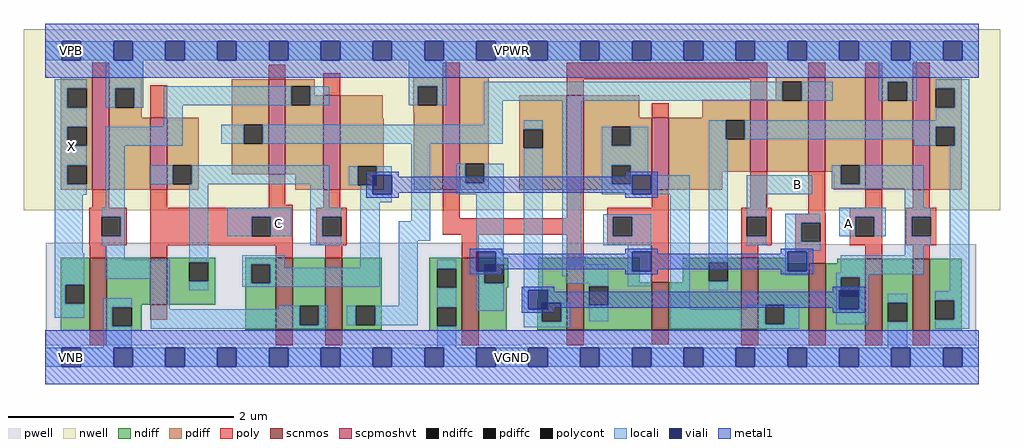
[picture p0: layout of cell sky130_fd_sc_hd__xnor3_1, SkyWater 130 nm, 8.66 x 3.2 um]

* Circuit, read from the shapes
.subckt sky130_fd_sc_hd__xnor3_1 A B C VGND VNB VPB VPWR X
XM1 VGND n1 X VNB sky130_fd_pr__nfet_01v8 w=0.65 l=0.15
XM2 n2 C VGND VNB sky130_fd_pr__nfet_01v8 w=0.42 l=0.15
XM3 n1 C n3 VNB sky130_fd_pr__nfet_01v8 w=0.64 l=0.15
XM4 n4 n2 n1 VNB sky130_fd_pr__nfet_01v8 w=0.64 l=0.15
XM5 n5 B VGND VNB sky130_fd_pr__nfet_01v8 w=0.65 l=0.15
XM6 n4 B n6 VNB sky130_fd_pr__nfet_01v8 w=0.64 l=0.15
XM7 n7 n5 n4 VNB sky130_fd_pr__nfet_01v8 w=0.42 l=0.15
XM8 n3 B n7 VNB sky130_fd_pr__nfet_01v8 w=0.64 l=0.15
XM9 n6 n5 n3 VNB sky130_fd_pr__nfet_01v8 w=0.6 l=0.15
XM10 VGND A n6 VNB sky130_fd_pr__nfet_01v8 w=0.64 l=0.15
XM11 n7 n6 VGND VNB sky130_fd_pr__nfet_01v8 w=0.64 l=0.15
XM12 VPWR n1 X VPB sky130_fd_pr__pfet_01v8_hvt w=1 l=0.15
XM13 n2 C VPWR VPB sky130_fd_pr__pfet_01v8_hvt w=0.64 l=0.15
XM14 n1 C n4 VPB sky130_fd_pr__pfet_01v8_hvt w=0.84 l=0.15
XM15 n3 n2 n1 VPB sky130_fd_pr__pfet_01v8_hvt w=0.84 l=0.15
XM16 n5 B VPWR VPB sky130_fd_pr__pfet_01v8_hvt w=1 l=0.15
XM17 n3 B n6 VPB sky130_fd_pr__pfet_01v8_hvt w=0.84 l=0.15
XM18 n7 n5 n3 VPB sky130_fd_pr__pfet_01v8_hvt w=0.64 l=0.15
XM19 n4 B n7 VPB sky130_fd_pr__pfet_01v8_hvt w=0.64 l=0.15
XM20 n6 n5 n4 VPB sky130_fd_pr__pfet_01v8_hvt w=0.84 l=0.15
XM21 VPWR A n6 VPB sky130_fd_pr__pfet_01v8_hvt w=1 l=0.15
XM22 n7 n6 VPWR VPB sky130_fd_pr__pfet_01v8_hvt w=1 l=0.15
.ends

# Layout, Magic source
magic
tech sky130A
magscale 1 2
<< nwell >>
rect -38 261 1694 582
<< pwell >>
rect 1 201 1341 203
rect 1 23 1652 201
rect 1 21 197 23
rect 655 21 845 23
rect 1256 21 1652 23
rect 29 -17 63 21
<< scnmos >>
rect 79 47 109 177
rect 186 93 216 177
rect 409 49 439 177
rect 497 49 527 177
rect 739 47 769 177
rect 925 49 955 177
rect 1076 49 1106 133
rect 1235 49 1265 177
rect 1355 47 1385 167
rect 1455 47 1485 175
rect 1539 47 1569 175
<< scpmoshvt >>
rect 83 297 113 497
rect 186 297 216 425
rect 396 325 426 493
rect 493 297 523 465
rect 705 297 735 497
rect 925 297 955 465
rect 1076 297 1106 425
rect 1251 329 1281 457
rect 1354 329 1384 497
rect 1455 297 1485 497
rect 1539 297 1569 497
<< ndiff >>
rect 27 129 79 177
rect 27 95 35 129
rect 69 95 79 129
rect 27 47 79 95
rect 109 93 186 177
rect 216 169 301 177
rect 216 135 255 169
rect 289 135 301 169
rect 216 93 301 135
rect 355 165 409 177
rect 355 131 365 165
rect 399 131 409 165
rect 109 89 171 93
rect 109 55 119 89
rect 153 55 171 89
rect 109 47 171 55
rect 355 49 409 131
rect 439 91 497 177
rect 439 57 451 91
rect 485 57 497 91
rect 439 49 497 57
rect 527 91 597 177
rect 527 57 551 91
rect 585 57 597 91
rect 527 49 597 57
rect 681 157 739 177
rect 681 123 695 157
rect 729 123 739 157
rect 681 89 739 123
rect 681 55 695 89
rect 729 55 739 89
rect 681 47 739 55
rect 769 165 821 177
rect 769 131 779 165
rect 813 131 821 165
rect 769 124 821 131
rect 769 47 819 124
rect 875 104 925 177
rect 873 97 925 104
rect 873 63 881 97
rect 915 63 925 97
rect 873 49 925 63
rect 955 133 1055 177
rect 1131 169 1235 177
rect 1131 135 1177 169
rect 1211 135 1235 169
rect 1131 133 1235 135
rect 955 126 1076 133
rect 955 92 965 126
rect 999 92 1076 126
rect 955 49 1076 92
rect 1106 49 1235 133
rect 1265 167 1315 177
rect 1405 167 1455 175
rect 1265 93 1355 167
rect 1265 59 1277 93
rect 1311 59 1355 93
rect 1265 49 1355 59
rect 1282 47 1355 49
rect 1385 142 1455 167
rect 1385 108 1411 142
rect 1445 108 1455 142
rect 1385 47 1455 108
rect 1485 97 1539 175
rect 1485 63 1495 97
rect 1529 63 1539 97
rect 1485 47 1539 63
rect 1569 101 1626 175
rect 1569 67 1579 101
rect 1613 67 1626 101
rect 1569 47 1626 67
<< pdiff >>
rect 27 477 83 497
rect 27 443 39 477
rect 73 443 83 477
rect 27 409 83 443
rect 27 375 39 409
rect 73 375 83 409
rect 27 341 83 375
rect 27 307 39 341
rect 73 307 83 341
rect 27 297 83 307
rect 113 477 171 497
rect 113 443 124 477
rect 158 443 171 477
rect 113 425 171 443
rect 113 297 186 425
rect 216 341 272 425
rect 216 307 226 341
rect 260 307 272 341
rect 331 413 396 493
rect 331 379 352 413
rect 386 379 396 413
rect 331 325 396 379
rect 426 481 478 493
rect 426 447 436 481
rect 470 465 478 481
rect 653 481 705 497
rect 470 447 493 465
rect 426 325 493 447
rect 216 297 272 307
rect 443 297 493 325
rect 523 423 599 465
rect 653 447 661 481
rect 695 447 705 481
rect 653 435 705 447
rect 523 339 600 423
rect 523 305 554 339
rect 588 305 600 339
rect 523 297 600 305
rect 654 297 705 435
rect 735 343 787 497
rect 735 309 745 343
rect 779 309 787 343
rect 735 297 787 309
rect 841 405 925 465
rect 841 371 849 405
rect 883 371 925 405
rect 841 297 925 371
rect 955 425 1054 465
rect 1296 489 1354 497
rect 1296 457 1308 489
rect 1166 425 1251 457
rect 955 409 1076 425
rect 955 375 1005 409
rect 1039 375 1076 409
rect 955 341 1076 375
rect 955 307 1005 341
rect 1039 307 1076 341
rect 955 297 1076 307
rect 1106 421 1251 425
rect 1106 387 1207 421
rect 1241 387 1251 421
rect 1106 329 1251 387
rect 1281 455 1308 457
rect 1342 455 1354 489
rect 1281 329 1354 455
rect 1384 341 1455 497
rect 1384 329 1411 341
rect 1106 297 1201 329
rect 1399 307 1411 329
rect 1445 307 1455 341
rect 1399 297 1455 307
rect 1485 489 1539 497
rect 1485 455 1495 489
rect 1529 455 1539 489
rect 1485 297 1539 455
rect 1569 477 1626 497
rect 1569 443 1580 477
rect 1614 443 1626 477
rect 1569 409 1626 443
rect 1569 375 1580 409
rect 1614 375 1626 409
rect 1569 297 1626 375
<< ndiffc >>
rect 35 95 69 129
rect 255 135 289 169
rect 365 131 399 165
rect 119 55 153 89
rect 451 57 485 91
rect 551 57 585 91
rect 695 123 729 157
rect 695 55 729 89
rect 779 131 813 165
rect 881 63 915 97
rect 1177 135 1211 169
rect 965 92 999 126
rect 1277 59 1311 93
rect 1411 108 1445 142
rect 1495 63 1529 97
rect 1579 67 1613 101
<< pdiffc >>
rect 39 443 73 477
rect 39 375 73 409
rect 39 307 73 341
rect 124 443 158 477
rect 226 307 260 341
rect 352 379 386 413
rect 436 447 470 481
rect 661 447 695 481
rect 554 305 588 339
rect 745 309 779 343
rect 849 371 883 405
rect 1005 375 1039 409
rect 1005 307 1039 341
rect 1207 387 1241 421
rect 1308 455 1342 489
rect 1411 307 1445 341
rect 1495 455 1529 489
rect 1580 443 1614 477
rect 1580 375 1614 409
<< poly >>
rect 83 497 113 523
rect 396 493 426 519
rect 186 425 216 483
rect 493 465 523 504
rect 705 497 735 523
rect 83 265 113 297
rect 186 265 216 297
rect 396 271 426 325
rect 925 493 1281 523
rect 1354 497 1384 523
rect 1455 497 1485 523
rect 1539 497 1569 523
rect 925 465 955 493
rect 1251 457 1281 493
rect 1076 425 1106 451
rect 396 265 439 271
rect 493 265 523 297
rect 78 249 144 265
rect 78 215 100 249
rect 134 215 144 249
rect 78 199 144 215
rect 186 249 439 265
rect 186 215 366 249
rect 400 215 439 249
rect 186 199 439 215
rect 481 249 535 265
rect 481 215 491 249
rect 525 215 535 249
rect 705 247 735 297
rect 925 247 955 297
rect 1076 265 1106 297
rect 1251 265 1281 329
rect 705 217 955 247
rect 481 199 535 215
rect 79 177 109 199
rect 186 177 216 199
rect 409 177 439 199
rect 497 177 527 199
rect 739 177 769 217
rect 925 177 955 217
rect 997 249 1106 265
rect 997 215 1007 249
rect 1041 215 1106 249
rect 997 199 1106 215
rect 186 67 216 93
rect 79 21 109 47
rect 409 21 439 49
rect 497 21 527 49
rect 1076 133 1106 199
rect 1235 249 1289 265
rect 1354 256 1384 329
rect 1455 265 1485 297
rect 1539 265 1569 297
rect 1354 255 1385 256
rect 1235 215 1245 249
rect 1279 215 1289 249
rect 1235 199 1289 215
rect 1331 239 1385 255
rect 1331 205 1341 239
rect 1375 205 1385 239
rect 1235 177 1265 199
rect 1331 189 1385 205
rect 1427 249 1485 265
rect 1427 215 1437 249
rect 1471 215 1485 249
rect 1427 199 1485 215
rect 1527 249 1581 265
rect 1527 215 1537 249
rect 1571 215 1581 249
rect 1527 199 1581 215
rect 1355 167 1385 189
rect 1455 175 1485 199
rect 1539 175 1569 199
rect 739 21 769 47
rect 925 21 955 49
rect 1076 23 1106 49
rect 1235 21 1265 49
rect 1355 21 1385 47
rect 1455 21 1485 47
rect 1539 21 1569 47
<< polycont >>
rect 100 215 134 249
rect 366 215 400 249
rect 491 215 525 249
rect 1007 215 1041 249
rect 1245 215 1279 249
rect 1341 205 1375 239
rect 1437 215 1471 249
rect 1537 215 1571 249
<< locali >>
rect 0 527 29 561
rect 63 527 121 561
rect 155 527 213 561
rect 247 527 305 561
rect 339 527 397 561
rect 431 527 489 561
rect 523 527 581 561
rect 615 527 673 561
rect 707 527 765 561
rect 799 527 857 561
rect 891 527 949 561
rect 983 527 1041 561
rect 1075 527 1133 561
rect 1167 527 1225 561
rect 1259 527 1317 561
rect 1351 527 1409 561
rect 1443 527 1501 561
rect 1535 527 1593 561
rect 1627 527 1656 561
rect 17 477 73 493
rect 17 443 39 477
rect 107 477 174 527
rect 645 481 711 527
rect 1479 489 1546 527
rect 107 443 124 477
rect 158 443 174 477
rect 210 447 436 481
rect 470 447 504 481
rect 645 447 661 481
rect 695 447 711 481
rect 778 455 1308 489
rect 1342 455 1397 489
rect 1479 455 1495 489
rect 1529 455 1546 489
rect 1580 477 1639 493
rect 17 409 73 443
rect 210 409 244 447
rect 778 413 812 455
rect 17 375 39 409
rect 17 341 73 375
rect 17 307 39 341
rect 17 288 73 307
rect 107 375 244 409
rect 312 379 352 413
rect 386 379 812 413
rect 849 405 883 421
rect 17 185 66 288
rect 107 265 141 375
rect 187 307 226 341
rect 260 307 504 341
rect 100 249 141 265
rect 134 215 141 249
rect 100 199 141 215
rect 17 129 69 185
rect 106 173 141 199
rect 106 139 221 173
rect 17 95 35 129
rect 17 70 69 95
rect 103 89 153 105
rect 103 55 119 89
rect 103 17 153 55
rect 187 85 221 139
rect 255 169 289 307
rect 470 265 504 307
rect 538 305 554 339
rect 588 323 615 339
rect 559 289 581 305
rect 559 275 615 289
rect 323 249 436 265
rect 323 215 366 249
rect 400 215 436 249
rect 470 249 525 265
rect 470 215 491 249
rect 470 199 525 215
rect 255 119 289 135
rect 349 165 425 181
rect 349 131 365 165
rect 399 159 425 165
rect 559 159 593 275
rect 649 241 683 379
rect 729 309 745 343
rect 779 309 813 343
rect 729 289 813 309
rect 399 131 593 159
rect 349 125 593 131
rect 627 207 683 241
rect 627 91 661 207
rect 765 187 813 289
rect 414 85 451 91
rect 187 57 451 85
rect 485 57 501 91
rect 535 57 551 91
rect 585 57 661 91
rect 695 157 729 173
rect 695 89 729 123
rect 187 51 501 57
rect 799 165 813 187
rect 765 131 779 153
rect 765 83 813 131
rect 849 119 883 371
rect 917 178 951 455
rect 1614 443 1639 477
rect 1580 421 1639 443
rect 987 375 1005 409
rect 1039 375 1070 409
rect 987 341 1070 375
rect 987 307 1005 341
rect 1039 323 1070 341
rect 1177 387 1207 421
rect 1241 409 1639 421
rect 1241 387 1580 409
rect 1039 307 1041 323
rect 987 289 1041 307
rect 1075 289 1143 323
rect 990 249 1075 254
rect 990 215 1007 249
rect 1041 215 1075 249
rect 990 199 1075 215
rect 1033 187 1075 199
rect 917 165 959 178
rect 917 144 999 165
rect 925 131 999 144
rect 965 126 999 131
rect 1033 153 1041 187
rect 1033 126 1075 153
rect 849 85 857 119
rect 695 17 729 55
rect 849 63 881 85
rect 915 63 931 97
rect 965 64 999 92
rect 1109 85 1143 289
rect 1177 169 1211 387
rect 1542 375 1580 387
rect 1614 375 1639 409
rect 1245 289 1361 323
rect 1395 307 1411 341
rect 1445 307 1559 341
rect 1395 299 1559 307
rect 1245 249 1279 289
rect 1525 265 1559 299
rect 1245 199 1279 215
rect 1313 239 1375 255
rect 1313 205 1341 239
rect 1409 249 1491 265
rect 1409 215 1437 249
rect 1471 215 1491 249
rect 1525 249 1571 265
rect 1525 215 1537 249
rect 1313 189 1375 205
rect 1525 199 1571 215
rect 1313 187 1354 189
rect 1313 153 1317 187
rect 1351 153 1354 187
rect 1525 181 1559 199
rect 1313 146 1354 153
rect 1411 150 1559 181
rect 1403 147 1559 150
rect 1177 119 1211 135
rect 1403 142 1461 147
rect 1403 119 1411 142
rect 1245 85 1277 93
rect 849 53 931 63
rect 1109 59 1277 85
rect 1311 59 1338 93
rect 1403 85 1409 119
rect 1445 108 1461 142
rect 1605 117 1639 375
rect 1443 85 1461 108
rect 1403 59 1461 85
rect 1495 97 1529 113
rect 1109 51 1338 59
rect 1495 17 1529 63
rect 1579 101 1639 117
rect 1613 67 1639 101
rect 1579 51 1639 67
rect 0 -17 29 17
rect 63 -17 121 17
rect 155 -17 213 17
rect 247 -17 305 17
rect 339 -17 397 17
rect 431 -17 489 17
rect 523 -17 581 17
rect 615 -17 673 17
rect 707 -17 765 17
rect 799 -17 857 17
rect 891 -17 949 17
rect 983 -17 1041 17
rect 1075 -17 1133 17
rect 1167 -17 1225 17
rect 1259 -17 1317 17
rect 1351 -17 1409 17
rect 1443 -17 1501 17
rect 1535 -17 1593 17
rect 1627 -17 1656 17
<< viali >>
rect 29 527 63 561
rect 121 527 155 561
rect 213 527 247 561
rect 305 527 339 561
rect 397 527 431 561
rect 489 527 523 561
rect 581 527 615 561
rect 673 527 707 561
rect 765 527 799 561
rect 857 527 891 561
rect 949 527 983 561
rect 1041 527 1075 561
rect 1133 527 1167 561
rect 1225 527 1259 561
rect 1317 527 1351 561
rect 1409 527 1443 561
rect 1501 527 1535 561
rect 1593 527 1627 561
rect 581 305 588 323
rect 588 305 615 323
rect 581 289 615 305
rect 765 165 799 187
rect 765 153 779 165
rect 779 153 799 165
rect 1041 289 1075 323
rect 1041 153 1075 187
rect 857 97 891 119
rect 857 85 881 97
rect 881 85 891 97
rect 1317 153 1351 187
rect 1409 108 1411 119
rect 1411 108 1443 119
rect 1409 85 1443 108
rect 29 -17 63 17
rect 121 -17 155 17
rect 213 -17 247 17
rect 305 -17 339 17
rect 397 -17 431 17
rect 489 -17 523 17
rect 581 -17 615 17
rect 673 -17 707 17
rect 765 -17 799 17
rect 857 -17 891 17
rect 949 -17 983 17
rect 1041 -17 1075 17
rect 1133 -17 1167 17
rect 1225 -17 1259 17
rect 1317 -17 1351 17
rect 1409 -17 1443 17
rect 1501 -17 1535 17
rect 1593 -17 1627 17
<< metal1 >>
rect 0 561 1656 592
rect 0 527 29 561
rect 63 527 121 561
rect 155 527 213 561
rect 247 527 305 561
rect 339 527 397 561
rect 431 527 489 561
rect 523 527 581 561
rect 615 527 673 561
rect 707 527 765 561
rect 799 527 857 561
rect 891 527 949 561
rect 983 527 1041 561
rect 1075 527 1133 561
rect 1167 527 1225 561
rect 1259 527 1317 561
rect 1351 527 1409 561
rect 1443 527 1501 561
rect 1535 527 1593 561
rect 1627 527 1656 561
rect 0 496 1656 527
rect 569 323 627 329
rect 569 289 581 323
rect 615 320 627 323
rect 1029 323 1087 329
rect 1029 320 1041 323
rect 615 292 1041 320
rect 615 289 627 292
rect 569 283 627 289
rect 1029 289 1041 292
rect 1075 289 1087 323
rect 1029 283 1087 289
rect 753 187 811 193
rect 753 153 765 187
rect 799 184 811 187
rect 1029 187 1087 193
rect 1029 184 1041 187
rect 799 156 1041 184
rect 799 153 811 156
rect 753 147 811 153
rect 1029 153 1041 156
rect 1075 184 1087 187
rect 1305 187 1363 193
rect 1305 184 1317 187
rect 1075 156 1317 184
rect 1075 153 1087 156
rect 1029 147 1087 153
rect 1305 153 1317 156
rect 1351 153 1363 187
rect 1305 147 1363 153
rect 845 119 903 125
rect 845 85 857 119
rect 891 116 903 119
rect 1397 119 1455 125
rect 1397 116 1409 119
rect 891 88 1409 116
rect 891 85 903 88
rect 845 79 903 85
rect 1397 85 1409 88
rect 1443 85 1455 119
rect 1397 79 1455 85
rect 0 17 1656 48
rect 0 -17 29 17
rect 63 -17 121 17
rect 155 -17 213 17
rect 247 -17 305 17
rect 339 -17 397 17
rect 431 -17 489 17
rect 523 -17 581 17
rect 615 -17 673 17
rect 707 -17 765 17
rect 799 -17 857 17
rect 891 -17 949 17
rect 983 -17 1041 17
rect 1075 -17 1133 17
rect 1167 -17 1225 17
rect 1259 -17 1317 17
rect 1351 -17 1409 17
rect 1443 -17 1501 17
rect 1535 -17 1593 17
rect 1627 -17 1656 17
rect 0 -48 1656 -17
<< labels >>
flabel locali s 29 357 63 391 0 FreeSans 340 0 0 0 X
port 8 nsew signal output
flabel locali s 1317 289 1351 323 0 FreeSans 340 0 0 0 B
port 2 nsew signal input
flabel locali s 397 221 431 255 0 FreeSans 340 0 0 0 C
port 3 nsew signal input
flabel locali s 1409 221 1443 255 0 FreeSans 340 0 0 0 A
port 1 nsew signal input
flabel pwell s 29 -17 63 17 0 FreeSans 200 0 0 0 VNB
port 5 nsew ground bidirectional
flabel nwell s 29 527 63 561 0 FreeSans 200 0 0 0 VPB
port 6 nsew power bidirectional
flabel metal1 s 29 -17 63 17 0 FreeSans 200 0 0 0 VGND
port 4 nsew ground bidirectional abutment
flabel metal1 s 29 527 63 561 0 FreeSans 200 0 0 0 VPWR
port 7 nsew power bidirectional abutment
rlabel comment s 0 0 0 0 4 xnor3_1
rlabel metal1 s 0 -48 1656 48 1 VGND
port 4 nsew ground bidirectional abutment
rlabel metal1 s 0 496 1656 592 1 VPWR
port 7 nsew power bidirectional abutment
<< properties >>
string FIXED_BBOX 0 0 1656 544
string GDS_END 604160
string GDS_FILE $PDKPATH/libs.ref/sky130_fd_sc_hd/gds/sky130_fd_sc_hd.gds
string GDS_START 592554
string LEFclass CORE
string LEFsite unithd
string LEFsymmetry X Y R90
string path 0.000 0.000 8.280 0.000 
<< end >>
